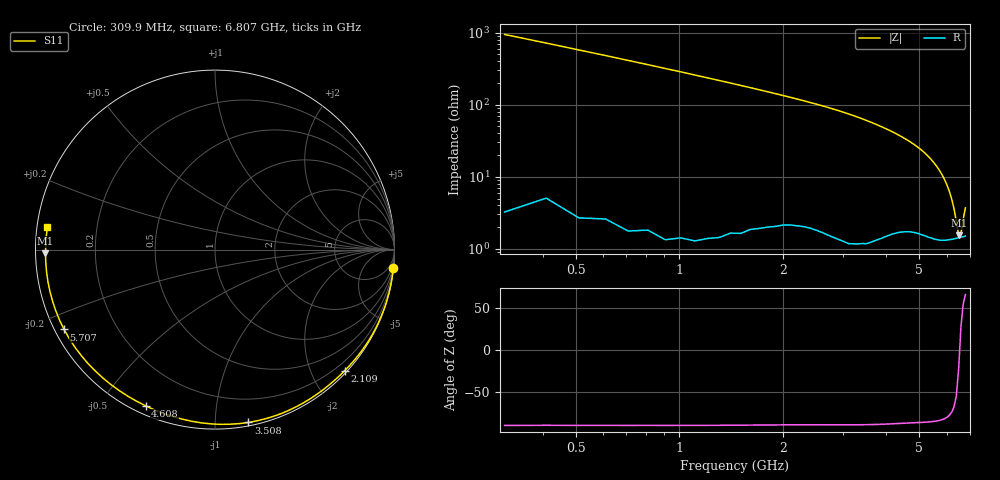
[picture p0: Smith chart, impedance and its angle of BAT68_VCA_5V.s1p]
! Infineon Technologies  Discrete & RF Semiconductors
! BAT68
! VCA = 5 V
! One-Port S-Parameters
# Hz  S  MA  R  50
!f  S11
!Hz  Mag  Ang
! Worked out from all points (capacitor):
!   66 points, 309.9 MHz to 6.807 GHz, reference 50 ohm
!   read as one part to ground: C = 537 fF near 309.9 MHz
!   lowest |Z| = 1.53 ohm at 6.507 GHz (marker M1)
!   series resonance near 6.55 GHz, so ESL is about 1.1 nH
!   S11 on the Smith chart (normalised r, x): 309.9 MHz: 0, -19; 2.109 GHz: 0.04, -2.53; 3.508 GHz: 0.02, -1.21; 4.608 GHz: 0.03, -0.65; 5.707 GHz: 0.03, -0.25; 6.807 GHz: 0.03, +0.07
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3.0985e8  0.9996 -6.0
7.0965e8  0.999 -13.8
1.0095e9  0.9983 -19.8
1.2094e9  0.9976 -23.9
1.6092e9  0.9943 -32.2
2.009e9  0.9896 -40.9
2.10895e9  0.9885 -43.1
2.50875e9  0.9861 -52.2
2.8086e9  0.9858 -59.6
3.0085e9  0.9855 -64.8
3.2084e9  0.9846 -70.3
3.50825e9  0.9811 -79.1
3.6082e9  0.979 -82.0
3.8081e9  0.9741 -88.2
4.008e9  0.9683 -94.5
4.2079e9  0.9621 -100.8
4.4078e9  0.9566 -107.4
4.6077e9  0.9525 -114.0
4.90755e9  0.9496 -124.1
5.10745e9  0.9498 -130.9
5.2074e9  0.9498 -134.5
5.50725e9  0.9513 -145.1
5.70715e9  0.9513 -152.1
5.90705e9  0.9504 -159.0
6.007e9  0.9496 -162.4
6.2069e9  0.9477 -169.1
6.50675e9  0.9447 -178.7
6.8066e9  0.9419 172.2
